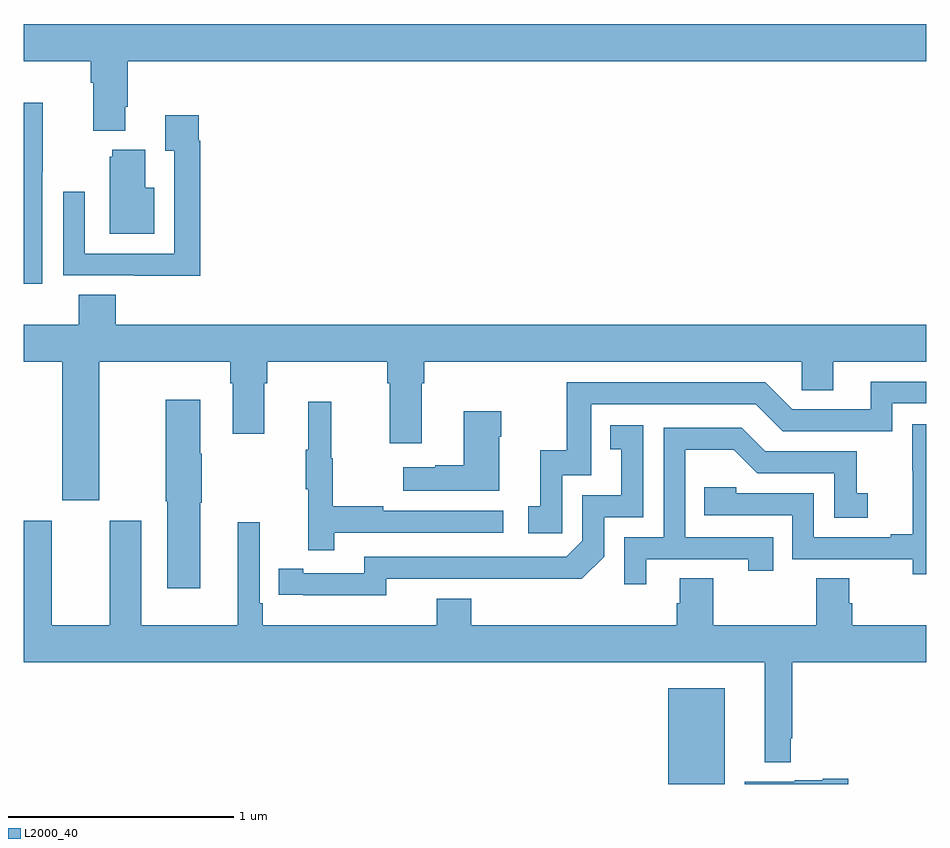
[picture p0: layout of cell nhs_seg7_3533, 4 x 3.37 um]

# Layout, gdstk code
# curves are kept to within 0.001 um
import gdstk
lib = gdstk.Library(unit=1e-6, precision=1e-09)
def R(c, l, rs):  # rectangles x0, y0, x1, y1
    for r in rs: c.add(gdstk.rectangle(r[:2], r[2:], *l))
def P(c, l, *ps):  # polygons
    for p in ps: c.add(gdstk.Polygon(p, *l))
L2000_40 = (2000, 40)

nhs_seg7_3533 = lib.new_cell('nhs_seg7_3533')
R(nhs_seg7_3533, L2000_40, [(337.856,1076,338.107,1076.425)])
P(nhs_seg7_3533, L2000_40, [(335.449,1079.002),(335.462,1079.002),(335.462,1079.204),(339,1079.204),(339,1079.368),(335,1079.368),(335,1079.204),(335.297,1079.204),(335.297,1079.108),(335.309,1079.108),(335.309,1078.895),(335.449,1078.895)],
  [(335.082,1078.711),(335.085,1078.711),(335.085,1079.018),(335,1079.018),(335,1078.218),(335.082,1078.218)],
  [(335.783,1078.85),(335.776,1078.85),(335.776,1078.963),(335.627,1078.963),(335.627,1078.807),(335.667,1078.807),(335.667,1078.35),(335.271,1078.35),(335.271,1078.624),(335.175,1078.624),(335.175,1078.254),(335.491,1078.254),(335.491,1078.253),(335.783,1078.253)],
  [(335.578,1078.642),(335.539,1078.642),(335.539,1078.81),(335.393,1078.81),(335.393,1078.779),(335.381,1078.779),(335.381,1078.439),(335.578,1078.439)],
  [(335.335,1077.872),(335.915,1077.872),(335.915,1077.776),(335.927,1077.776),(335.927,1077.552),(336.067,1077.552),(336.067,1077.776),(336.08,1077.776),(336.08,1077.872),(336.611,1077.872),(336.611,1077.776),(336.623,1077.776),(336.623,1077.51),(336.763,1077.51),(336.763,1077.776),(336.776,1077.776),(336.776,1077.872),(338.448,1077.872),(338.448,1077.745),(338.587,1077.745),(338.587,1077.872),(339,1077.872),(339,1078.036),(335.408,1078.036),(335.408,1078.169),(335.243,1078.169),(335.243,1078.036),(335,1078.036),(335,1077.872),(335.171,1077.872),(335.171,1077.258),(335.335,1077.258)],
  [(337.386,1077.369),(337.515,1077.369),(337.515,1077.684),(338.244,1077.684),(338.364,1077.564),(338.85,1077.564),(338.85,1077.687),(339,1077.687),(339,1077.783),(338.753,1077.783),(338.753,1077.66),(338.406,1077.66),(338.286,1077.78),(337.407,1077.78),(337.407,1077.478),(337.289,1077.478),(337.289,1077.231),(337.236,1077.231),(337.236,1077.111),(337.386,1077.111)],
  [(335.782,1077.247),(335.79,1077.247),(335.79,1077.464),(335.782,1077.464),(335.782,1077.703),(335.629,1077.703),(335.629,1077.253),(335.636,1077.253),(335.636,1076.868),(335.782,1076.868)],
  [(336.377,1077.114),(337.126,1077.114),(337.126,1077.21),(336.593,1077.21),(336.593,1077.23),(336.37,1077.23),(336.37,1077.444),(336.362,1077.444),(336.362,1077.694),(336.26,1077.694),(336.26,1077.481),(336.249,1077.481),(336.249,1077.307),(336.26,1077.307),(336.26,1077.036),(336.377,1077.036)],
  [(337.108,1077.539),(337.116,1077.539),(337.116,1077.652),(336.95,1077.652),(336.95,1077.413),(336.824,1077.413),(336.824,1077.403),(336.681,1077.403),(336.681,1077.299),(337.108,1077.299)],
  [(339,1077.595),(338.938,1077.595),(338.938,1077.389),(338.939,1077.389),(338.939,1077.106),(338.843,1077.106),(338.843,1077.093),(338.502,1077.093),(338.502,1077.288),(338.157,1077.288),(338.157,1077.315),(338.017,1077.315),(338.017,1077.192),(338.406,1077.192),(338.406,1076.997),(338.94,1076.997),(338.94,1076.929),(339,1076.929)],
  [(336.606,1076.91),(337.474,1076.909),(337.572,1077.006),(337.572,1077.183),(337.746,1077.183),(337.746,1077.589),(337.6,1077.589),(337.6,1077.483),(337.649,1077.483),(337.649,1077.279),(337.476,1077.279),(337.476,1077.078),(337.404,1077.006),(336.51,1077.006),(336.51,1076.934),(336.238,1076.934),(336.238,1076.954),(336.13,1076.954),(336.13,1076.838),(336.606,1076.837)],
  [(337.759,1076.997),(338.21,1076.997),(338.21,1076.946),(338.321,1076.946),(338.321,1077.093),(337.932,1077.093),(337.932,1077.482),(338.146,1077.482),(338.25,1077.378),(338.592,1077.378),(338.592,1077.18),(338.74,1077.18),(338.74,1077.289),(338.691,1077.289),(338.691,1077.474),(338.287,1077.474),(338.182,1077.579),(337.836,1077.579),(337.836,1077.093),(337.662,1077.093),(337.662,1076.886),(337.759,1076.886)],
  [(338.399,1076.203),(338.407,1076.203),(338.407,1076.54),(339,1076.54),(339,1076.704),(338.672,1076.704),(338.672,1076.802),(338.659,1076.802),(338.659,1076.912),(338.512,1076.912),(338.512,1076.704),(338.055,1076.704),(338.055,1076.912),(337.907,1076.912),(337.907,1076.802),(337.895,1076.802),(337.895,1076.704),(336.983,1076.704),(336.983,1076.821),(336.83,1076.821),(336.83,1076.704),(336.059,1076.704),(336.059,1076.8),(336.045,1076.8),(336.045,1077.16),(335.948,1077.16),(335.948,1076.704),(335.521,1076.704),(335.521,1077.166),(335.381,1077.166),(335.381,1076.704),(335.125,1076.704),(335.125,1077.166),(335,1077.166),(335,1076.54),(338.285,1076.54),(338.285,1076.096),(338.399,1076.096)],
  [(338.653,1076.024),(338.54,1076.024),(338.54,1076.017),(338.418,1076.017),(338.418,1076.011),(338.195,1076.011),(338.195,1076),(338.653,1076)])

lib.write_gds('nhs_seg7_3533.gds')
